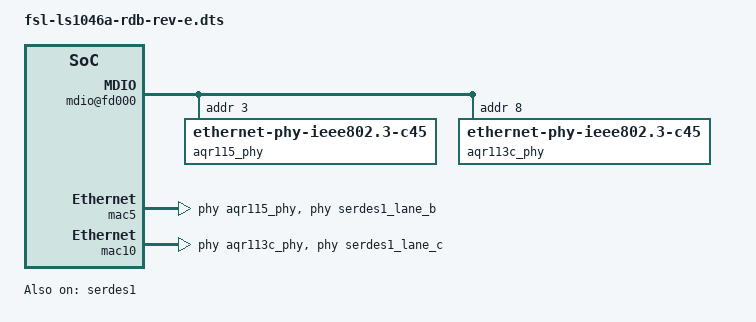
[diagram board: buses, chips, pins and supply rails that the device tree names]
// SPDX-License-Identifier: (GPL-2.0+ OR MIT)
/*
 * Device Tree Include file for Freescale Layerscape-1046A family SoC.
 *
 * Copyright 2025 NXP
 */

#include "fsl-ls1046a-rdb.dts"

&fman0 {
	mdio@fc000 {
		/delete-node/ ethernet-phy@3;
	};

	mdio@fd000 {
		aqr115_phy: ethernet-phy@3 {
			compatible = "ethernet-phy-ieee802.3-c45";
			reg = <0x3>;
		};

		aqr113c_phy: ethernet-phy@8 {
			compatible = "ethernet-phy-ieee802.3-c45";
			reg = <0x8>;
			interrupts = <GIC_SPI 131 IRQ_TYPE_LEVEL_HIGH>;
		};
	};
};

&mac5 {
	phy-handle = <&aqr115_phy>;
	managed = "auto";
	phys = <&serdes1_lane_b>;
	phy-names = "serdes";
};

&mac10 {
	phy-handle = <&aqr113c_phy>;
	phys = <&serdes1_lane_c>;
	phy-names = "serdes";
};

&serdes1 {
	status = "okay";
};
